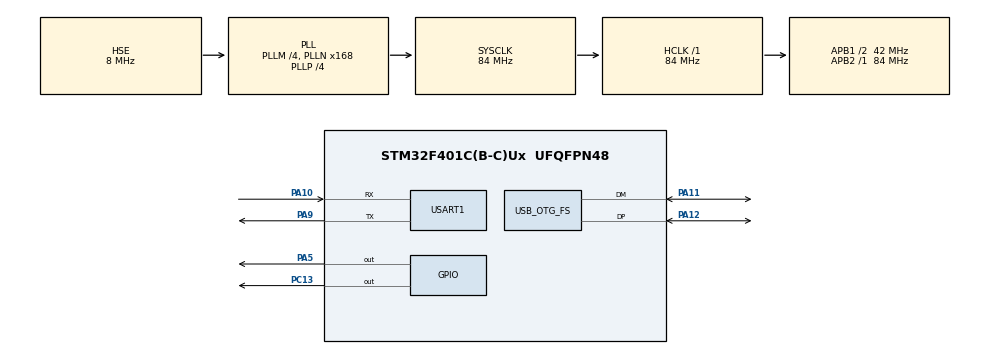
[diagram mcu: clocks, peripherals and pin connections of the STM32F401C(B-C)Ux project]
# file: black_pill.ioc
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Mcu.Family=STM32F4
Mcu.Name=STM32F401C(B-C)Ux
Mcu.Package=UFQFPN48
NVIC.OTG_FS_IRQn=true\:0\:0\:false\:false\:true\:false\:true
NVIC.PriorityGroup=NVIC_PRIORITYGROUP_4
NVIC.USART1_IRQn=true\:0\:0\:false\:false\:true\:true\:true
PA10.Mode=Asynchronous
PA10.Signal=USART1_RX
PA11.Mode=Device_Only
PA11.Signal=USB_OTG_FS_DM
PA12.Mode=Device_Only
PA12.Signal=USB_OTG_FS_DP
PA13.Mode=Serial_Wire
PA13.Signal=SYS_JTMS-SWDIO
PA14.Mode=Serial_Wire
PA14.Signal=SYS_JTCK-SWCLK
PA5.Signal=GPIO_Output
PA9.Mode=Asynchronous
PA9.Signal=USART1_TX
PC13-ANTI_TAMP.Signal=GPIO_Output
PH0\ -\ OSC_IN.Mode=HSE-External-Oscillator
PH0\ -\ OSC_IN.Signal=RCC_OSC_IN
PH1\ -\ OSC_OUT.Mode=HSE-External-Oscillator
PH1\ -\ OSC_OUT.Signal=RCC_OSC_OUT
ProjectManager.HeapSize=0x200
ProjectManager.StackSize=0x400
ProjectManager.TargetToolchain=STM32CubeIDE
RCC.48MHZClocksFreq_Value=48000000
RCC.AHBFreq_Value=84000000
RCC.APB1CLKDivider=RCC_HCLK_DIV2
RCC.APB1Freq_Value=42000000
RCC.APB1TimFreq_Value=84000000
RCC.APB2Freq_Value=84000000
RCC.APB2TimFreq_Value=84000000
RCC.CortexFreq_Value=84000000
RCC.HCLKFreq_Value=84000000
RCC.HSE_VALUE=8000000
RCC.HSI_VALUE=16000000
RCC.LSE_VALUE=32768
RCC.PLLM=4
RCC.PLLN=168
RCC.PLLP=RCC_PLLP_DIV4
RCC.PLLQ=7
RCC.SYSCLKFreq_VALUE=84000000
RCC.SYSCLKSource=RCC_SYSCLKSOURCE_PLLCLK
RCC.VCOOutputFreq_Value=336000000
USART1.VirtualMode=VM_ASYNC
USB_DEVICE.CLASS_NAME_FS=CDC
USB_DEVICE.PRODUCT_STRING_CDC_FS=STM32 Virtual Port
USB_DEVICE.VirtualMode=Cdc
USB_DEVICE.VirtualModeFS=Cdc_FS
USB_OTG_FS.VirtualMode=Device_Only
VP_USB_DEVICE_VS_USB_DEVICE_CDC_FS.Mode=CDC_FS
board=custom

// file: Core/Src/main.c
/* USER CODE BEGIN Header */
/**
  ******************************************************************************
  * @file           : main.c
  * @brief          : Main program body
  ******************************************************************************
  * @attention
  *
  * <h2><center>&copy; Copyright (c) 2022 STMicroelectronics.
  * All rights reserved.</center></h2>
  *
  * This software component is licensed by ST under BSD 3-Clause license,
  * the "License"; You may not use this file except in compliance with the
  * License. You may obtain a copy of the License at:
  *                        opensource.org/licenses/BSD-3-Clause
  *
  ******************************************************************************
  */
/* USER CODE END Header */
#include "main.h"
#include "usb_device.h"

/* USER CODE BEGIN Includes */
#include "../lib/timer/timer.h"
#include "../uart/uart.h"
#include "usbd_cdc_if.h"
#include "string.h"
//#include "../uart/uart.h"
/* USER CODE END Includes */

UART_HandleTypeDef huart1;

void SystemClock_Config(void);
static void MX_GPIO_Init(void);

/* USER CODE BEGIN 0 */

char *data = "Hello from CONTROLLERSTECH\n";

/* USER CODE END 0 */

int main(void)
{

  /* MCU Configuration--------------------------------------------------------*/

  /* Reset of all peripherals, Initializes the Flash interface and the Systick. */
  HAL_Init();

  /* USER CODE BEGIN Init */
  timer_init();
  /* USER CODE END Init */

  /* Configure the system clock */
  SystemClock_Config();

  /* Initialize all configured peripherals */
  MX_GPIO_Init();
  MX_USART1_UART_Init();
  MX_USB_DEVICE_Init();

  /* Infinite loop */
  /* USER CODE BEGIN WHILE */
  while (1)
  {
	  //CDC_Transmit_FS((uint8_t *) data, strlen(data));
	  //HAL_Delay(1000);

	  //HAL_UART_TxCpltCallback(&huart1);
	  //HAL_UART_RxCpltCallback(&huart1);

	  HAL_GPIO_TogglePin(GPIOA, GPIO_PIN_5);
	  HAL_Delay(500);
	  static void MX_USART1_UART_Init(void)
	  {

	    /* USER CODE BEGIN USART1_Init 0 */

	    /* USER CODE END USART1_Init 0 */

	    /* USER CODE BEGIN USART1_Init 1 */

	    /* USER CODE END USART1_Init 1 */
	    huart1.Instance = USART1;
	    huart1.Init.BaudRate = 115200;
	    huart1.Init.WordLength = UART_WORDLENGTH_8B;
	    huart1.Init.StopBits = UART_STOPBITS_1;
	    huart1.Init.Parity = UART_PARITY_NONE;
	    huart1.Init.Mode = UART_MODE_TX_RX;
	    huart1.Init.HwFlowCtl = UART_HWCONTROL_NONE;
	    huart1.Init.OverSampling = UART_OVERSAMPLING_16;
	    if (HAL_UART_Init(&huart1) != HAL_OK)
	    {
	      Error_Handler();
	    }
	    /* USER CODE BEGIN USART1_Init 2 */

	    /* USER CODE END USART1_Init 2 */

	  }
	  //GPIOC->ODR |= (1<<13);
	  //HAL_Delay(1000);
	  //MyUART_Print_String(&huart1, "Dioda on");

	  //GPIOC->ODR &= ~(1<<13);
	  //MyUART_Print_String(&huart1, "Dioda off");
	  	//HAL_Delay(1000);
    /* USER CODE END WHILE */

  }
}

void SystemClock_Config(void)
{
  RCC_OscInitTypeDef RCC_OscInitStruct = {0};
  RCC_ClkInitTypeDef RCC_ClkInitStruct = {0};

  /** Configure the main internal regulator output voltage
  */
  __HAL_RCC_PWR_CLK_ENABLE();
  __HAL_PWR_VOLTAGESCALING_CONFIG(PWR_REGULATOR_VOLTAGE_SCALE2);
  /** Initializes the RCC Oscillators according to the specified parameters
  * in the RCC_OscInitTypeDef structure.
  */
  RCC_OscInitStruct.OscillatorType = RCC_OSCILLATORTYPE_HSE;
  RCC_OscInitStruct.HSEState = RCC_HSE_ON;
  RCC_OscInitStruct.PLL.PLLState = RCC_PLL_ON;
  RCC_OscInitStruct.PLL.PLLSource = RCC_PLLSOURCE_HSE;
  RCC_OscInitStruct.PLL.PLLM = 4;
  RCC_OscInitStruct.PLL.PLLN = 168;
  RCC_OscInitStruct.PLL.PLLP = RCC_PLLP_DIV4;
  RCC_OscInitStruct.PLL.PLLQ = 7;
  if (HAL_RCC_OscConfig(&RCC_OscInitStruct) != HAL_OK)
  {
    Error_Handler();
  }
  /** Initializes the CPU, AHB and APB buses clocks
  */
  RCC_ClkInitStruct.ClockType = RCC_CLOCKTYPE_HCLK|RCC_CLOCKTYPE_SYSCLK
                              |RCC_CLOCKTYPE_PCLK1|RCC_CLOCKTYPE_PCLK2;
  RCC_ClkInitStruct.SYSCLKSource = RCC_SYSCLKSOURCE_PLLCLK;
  RCC_ClkInitStruct.AHBCLKDivider = RCC_SYSCLK_DIV1;
  RCC_ClkInitStruct.APB1CLKDivider = RCC_HCLK_DIV2;
  RCC_ClkInitStruct.APB2CLKDivider = RCC_HCLK_DIV1;

  if (HAL_RCC_ClockConfig(&RCC_ClkInitStruct, FLASH_LATENCY_2) != HAL_OK)
  {
    Error_Handler();
  }
}

static void MX_GPIO_Init(void)
{
  GPIO_InitTypeDef GPIO_InitStruct = {0};

  /* GPIO Ports Clock Enable */
  __HAL_RCC_GPIOC_CLK_ENABLE();
  __HAL_RCC_GPIOH_CLK_ENABLE();
  __HAL_RCC_GPIOA_CLK_ENABLE();

  /*Configure GPIO pin Output Level */
  HAL_GPIO_WritePin(GPIOC, GPIO_PIN_13, GPIO_PIN_RESET);

  /*Configure GPIO pin Output Level */
  HAL_GPIO_WritePin(GPIOA, GPIO_PIN_5, GPIO_PIN_RESET);

  /*Configure GPIO pin : PC13 */
  GPIO_InitStruct.Pin = GPIO_PIN_13;
  GPIO_InitStruct.Mode = GPIO_MODE_OUTPUT_PP;
  GPIO_InitStruct.Pull = GPIO_NOPULL;
  GPIO_InitStruct.Speed = GPIO_SPEED_FREQ_LOW;
  HAL_GPIO_Init(GPIOC, &GPIO_InitStruct);

  /*Configure GPIO pin : PA5 */
  GPIO_InitStruct.Pin = GPIO_PIN_5;
  GPIO_InitStruct.Mode = GPIO_MODE_OUTPUT_PP;
  GPIO_InitStruct.Pull = GPIO_NOPULL;
  GPIO_InitStruct.Speed = GPIO_SPEED_FREQ_LOW;
  HAL_GPIO_Init(GPIOA, &GPIO_InitStruct);

}

/* USER CODE BEGIN 4 */

/*void HAL_UART_RxCpltCallback(UART_HandleTypeDef *huart)
{
	MyUART_Print_String(&huart1, "Accepted");
	HAL_UART_Receive_IT(&huart1, rx_buff, 1);

}*/

/* USER CODE END 4 */

void Error_Handler(void)
{
  __disable_irq();
  while (1)
  {
  }
}

/************************ (C) COPYRIGHT STMicroelectronics *****END OF FILE****/
